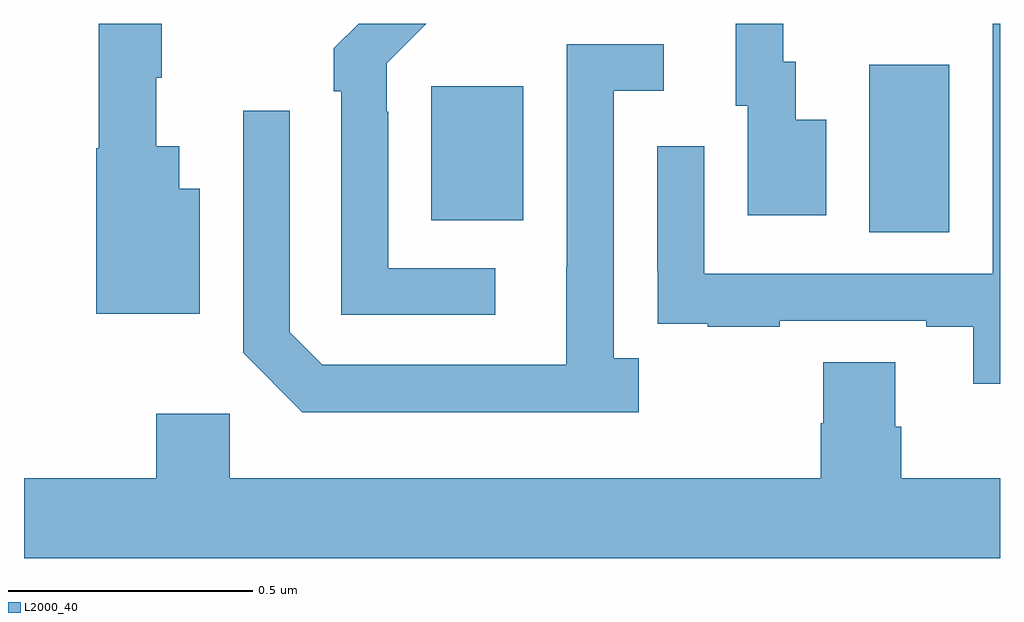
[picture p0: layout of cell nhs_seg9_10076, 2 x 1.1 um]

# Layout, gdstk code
import gdstk
lib = gdstk.Library(unit=1e-6, precision=1e-09)
def R(c, l, rs):  # rectangles x0, y0, x1, y1
    for r in rs: c.add(gdstk.rectangle(r[:2], r[2:], *l))
def P(c, l, *ps):  # polygons
    for p in ps: c.add(gdstk.Polygon(p, *l))
L2000_40 = (2000, 40)

nhs_seg9_10076 = lib.new_cell('nhs_seg9_10076')
R(nhs_seg9_10076, L2000_40, [(239.732,1213.072,239.896,1213.416), (238.835,1213.097,239.023,1213.372)])
P(nhs_seg9_10076, L2000_40, [(238.36,1213.162),(238.318,1213.162),(238.318,1213.249),(238.271,1213.249),(238.271,1213.389),(238.282,1213.389),(238.282,1213.5),(238.153,1213.5),(238.153,1213.245),(238.148,1213.245),(238.148,1212.905),(238.36,1212.905)],
  [(240,1213.5),(239.985,1213.5),(239.985,1212.987),(239.394,1212.987),(239.394,1213.249),(239.298,1213.249),(239.298,1212.994),(239.299,1212.994),(239.299,1212.885),(239.401,1212.885),(239.401,1212.879),(239.549,1212.879),(239.549,1212.891),(239.849,1212.891),(239.849,1212.879),(239.945,1212.879),(239.945,1212.762),(240,1212.762)],
  [(238.966,1212.999),(238.746,1212.999),(238.746,1213.319),(238.743,1213.319),(238.743,1213.419),(238.824,1213.5),(238.686,1213.5),(238.635,1213.449),(238.635,1213.361),(238.65,1213.361),(238.65,1212.903),(238.966,1212.903)],
  [(239.644,1213.303),(239.581,1213.303),(239.581,1213.422),(239.556,1213.422),(239.556,1213.5),(239.459,1213.5),(239.459,1213.332),(239.483,1213.332),(239.483,1213.107),(239.644,1213.107)],
  [(239.26,1212.814),(239.208,1212.814),(239.208,1213.362),(239.311,1213.362),(239.311,1213.458),(239.112,1213.458),(239.112,1213.001),(239.111,1213.001),(239.111,1212.801),(238.611,1212.801),(238.545,1212.867),(238.545,1213.321),(238.449,1213.321),(238.449,1212.825),(238.57,1212.704),(239.26,1212.704)],
  [(240,1212.568),(239.798,1212.568),(239.798,1212.674),(239.785,1212.674),(239.785,1212.806),(239.638,1212.806),(239.638,1212.681),(239.633,1212.681),(239.633,1212.568),(238.422,1212.568),(238.422,1212.7),(238.271,1212.7),(238.271,1212.568),(238,1212.568),(238,1212.404),(240,1212.404)])

lib.write_gds('nhs_seg9_10076.gds')
